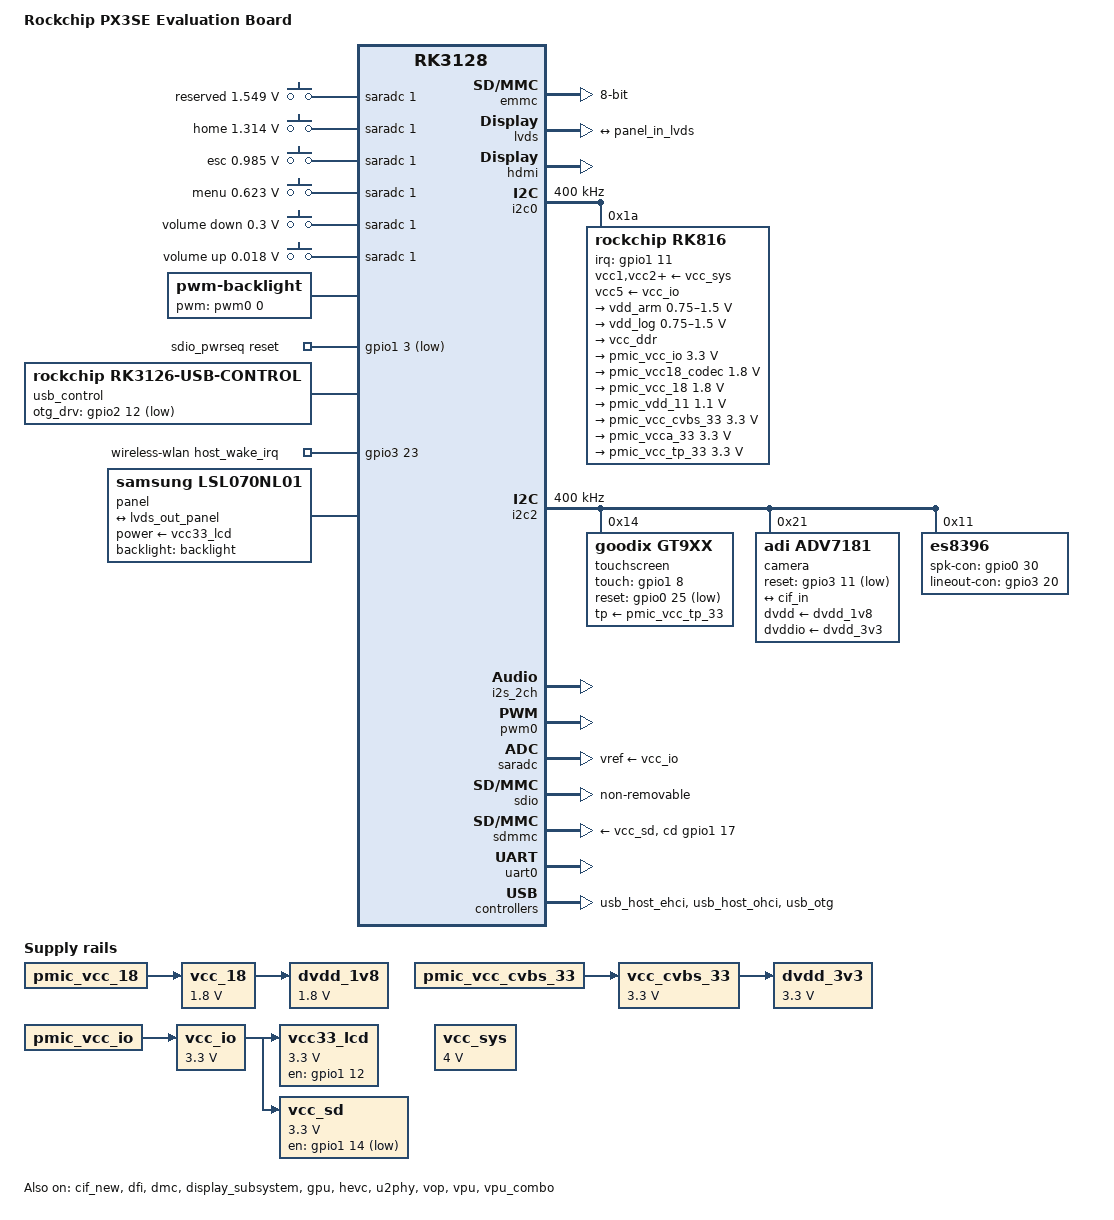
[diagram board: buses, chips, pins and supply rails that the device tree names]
// SPDX-License-Identifier: (GPL-2.0+ OR MIT)
/dts-v1/;

#include "rk3128.dtsi"
#include <dt-bindings/display/drm_mipi_dsi.h>
#include <dt-bindings/input/input.h>

/ {
	model = "Rockchip PX3SE Evaluation Board";
	compatible = "rockchip,px3se-evb", "rockchip,rk3128";

	chosen {
		bootargs = "loglevel=7 root=PARTUUID=614e0000-0000-4b53-8000-1d28000054a9 rootwait";
	};

	adc-keys {
		compatible = "adc-keys";
		io-channels = <&saradc 1>;
		io-channel-names = "buttons";
		poll-interval = <100>;
		keyup-threshold-microvolt = <1800000>;

		reserved-key {
			linux,code = <KEY_RESERVED>;
			label = "reserved";
			press-threshold-microvolt = <1549000>;
		};

		home-key {
			linux,code = <KEY_HOME>;
			label = "home";
			press-threshold-microvolt = <1314000>;
		};

		esc-key {
			linux,code = <KEY_ESC>;
			label = "esc";
			press-threshold-microvolt = <985000>;
		};

		menu-key {
			linux,code = <KEY_MENU>;
			label = "menu";
			press-threshold-microvolt = <623000>;
		};

		vol-down-key {
			linux,code = <KEY_VOLUMEDOWN>;
			label = "volume down";
			press-threshold-microvolt = <300000>;
		};

		vol-up-key {
			linux,code = <KEY_VOLUMEUP>;
			label = "volume up";
			press-threshold-microvolt = <18000>;
		};
	};

	backlight: backlight {
		compatible = "pwm-backlight";

		brightness-levels = <0 1 2 3 4 5 6 7 8 9 10 11 12 13 14 15 16
		17 18 19 20 21 22 23 24 25 26 27 28 29 30 31 32 33 34 35 36 37
		38 39 40 41 42 43 44 45 46 47 48 49 50 51 52 53 54 55 56 57 58
		59 60 61 62 63 64 65 66 67 68 69 70 71 72 73 74 75 76 77 78 79
		80 81 82 83 84 85 86 87 88 89 90 91 92 93 94 95 96 97 98 99 100
		101 102 103 104 105 106 107 108 109 110 111 112 113 114 115 116
		117 118 119 120 121 122 123 124 125 126 127 128 129 130 131 132
		133 134 135 136 137 138 139 140 141 142 143 144 145 146 147 148
		149 150 151 152 153 154 155 156 157 158 159 160 161 162 163 164
		165 166 167 168 169 170 171 172 173 174 175 176 177 178 179 180
		181 182 183 184 185 186 187 188 189 190 191 192 193 194 195 196
		197 198 199 200 201 202 203 204 205 206 207 208 209 210 211 212
		213 214 215 216 217 218 219 220 221 222 223 224 225 226 227 228
		229 230 231 232 233 234 235 236 237 238 239 240 241 242 243 244
		245 246 247 248 249 250 251 252 253 254 255>;

		default-brightness-level = <128>;
		pwms = <&pwm0 0 25000 0>;

		status = "okay";
	};

	fiq-debugger {
		compatible = "rockchip,fiq-debugger";

		pinctrl-names = "default";
		pinctrl-0 = <&uart1_xfer>;

		rockchip,serial-id = <1>;
		rockchip,wake-irq = <0>;
		/* If enable uart uses irq instead of fiq */
		rockchip,irq-mode-enable = <0>;
		rockchip,baudrate = <115200>;  /* Only 115200 and 1500000 */
		/* Choose a reserved/no-in-use irq */
		interrupts = <GIC_SPI 127 IRQ_TYPE_LEVEL_LOW>;
		status = "okay";
	};

	sdio_pwrseq: sdio-pwrseq {
		compatible = "mmc-pwrseq-simple";
		/* Use external clock power by VCC_RTC */
		pinctrl-names = "default";
		pinctrl-0 = <&wifi_pwr>;

		/*
		 * On the module itself this is one of these (depending
		 * on the actual card populated):
		 * - SDIO_RESET_L_WL_REG_ON
		 * - PDN (power down when low)
		 */
		reset-gpios = <&gpio1 3 GPIO_ACTIVE_LOW>;
	};

	sound-rk312x {
		compatible = "simple-audio-card";
		status = "disabled";

		simple-audio-card,format = "i2s";
		simple-audio-card,mclk-fs = <256>;
		simple-audio-card,name = "rockchip,rk312x-codec";
		simple-audio-card,cpu {
			sound-dai = <&i2s_8ch>;
		};
		simple-audio-card,codec {
			sound-dai = <&codec>;
		};
	};

	sound-es8396 {
		compatible = "simple-audio-card";
		status = "okay";

		simple-audio-card,format = "i2s";
		simple-audio-card,name = "rockchip,es8396-codec";
		simple-audio-card,mclk-fs = <256>;
		simple-audio-card,widgets =
			"Microphone", "Microphone Jack",
			"Line", "Microphone Headset",
			"Headphone", "Headphone Jack";
		simple-audio-card,routing =
			"MIC", "Microphone Jack",
			"DMIC", "Microphone Headset",
			"Headphone Jack", "LOUTP",
			"Headphone Jack", "ROUTN";
		simple-audio-card,cpu {
			sound-dai = <&i2s_2ch>;
		};
		simple-audio-card,codec {
			sound-dai = <&es8396>;
		};
	};

	usb_control {
		compatible = "rockchip,rk3126-usb-control";

		otg_drv_gpio = <&gpio2 12 GPIO_ACTIVE_LOW>;
		rockchip,remote_wakeup;
		rockchip,usb_irq_wakeup;
	};

	vcc_18: vcc-18 {
		compatible = "regulator-fixed";
		regulator-name = "vcc_18";
		regulator-min-microvolt = <1800000>;
		regulator-max-microvolt = <1800000>;
		regulator-always-on;
		vin-supply = <&pmic_vcc_18>;
	};

	/* vcc33_lcd and vcc18_lcd share the same enable pin */
	vcc33_lcd: vcc33-lcd {
		compatible = "regulator-fixed";
		pinctrl-names = "default";
		pinctrl-0 = <&lcdc_pwr_en>;

		gpio = <&gpio1 12 GPIO_ACTIVE_HIGH>;
		enable-active-high;

		regulator-name = "vcc33_lcd";
		regulator-min-microvolt = <3300000>;
		regulator-max-microvolt = <3300000>;
		vin-supply = <&vcc_io>;
	};

	vcc_cvbs_33: vcc-cvbs-33 {
		compatible = "regulator-fixed";
		regulator-name= "vcc-cvbs-33";
		regulator-min-microvolt = <3300000>;
		regulator-max-microvolt = <3300000>;
		vin-supply = <&pmic_vcc_cvbs_33>;
	};

	vcc_sys: vcc-sys {
		compatible = "regulator-fixed";
		regulator-name = "vcc_sys";
		regulator-min-microvolt = <4000000>;
		regulator-max-microvolt = <4000000>;
		regulator-always-on;
	};

	vcc_io: vcc-io {
		compatible = "regulator-fixed";
		regulator-name = "vcc_io";
		regulator-min-microvolt = <3300000>;
		regulator-max-microvolt = <3300000>;
		regulator-always-on;
		vin-supply = <&pmic_vcc_io>;
	};

	vcc_sd: vcc-sd {
		compatible = "regulator-fixed";
		gpio = <&gpio1 14 GPIO_ACTIVE_LOW>;
		pinctrl-names = "default";
		pinctrl-0 = <&sdmmc_pwr>;
		regulator-name = "vcc_sd";
		regulator-min-microvolt = <3300000>;
		regulator-max-microvolt = <3300000>;
		vin-supply = <&vcc_io>;
	};

	dvdd_1v8: dvdd-1v8 {
		compatible = "regulator-fixed";
		regulator-name = "dvdd-1v8";
		regulator-min-microvolt = <1800000>;
		regulator-max-microvolt = <1800000>;
		vin-supply = <&vcc_18>;
	};

	dvdd_3v3: dvdd-3v3 {
		compatible = "regulator-fixed";
		regulator-name = "dvdd-3v3";
		regulator-min-microvolt = <3300000>;
		regulator-max-microvolt = <3300000>;
		vin-supply = <&vcc_cvbs_33>;
	};

	wireless-bluetooth {
		compatible = "bluetooth-platdata";

		keep_bt_power_on;

		BT,power_gpio = <&gpio3 21 GPIO_ACTIVE_HIGH>;
		BT,wake_gpio = <&gpio3 26 GPIO_ACTIVE_HIGH>;
		BT,wake_host_irq = <&gpio3 22 GPIO_ACTIVE_HIGH>;
		/* TODO: disabled because it doesn't work */
		status = "disabled";
	};

	wireless-wlan {
		compatible = "wlan-platdata";

		pinctrl-names = "default";
		pinctrl-0 = <&wifi_en>;

		wifi_chip_type = "rtl8723ds";
		sdio_vref = <1800>; /*1800mv or 3300mv*/
		WIFI,host_wake_irq = <&gpio3 23 GPIO_ACTIVE_HIGH>;
		/* WIFI power controller by sdio pwrseq */

		status = "okay";
	};

	panel {
		compatible = "samsung,lsl070nl01", "simple-panel";
		power-supply = <&vcc33_lcd>;
		backlight = <&backlight>;
		/*
		 * MEDIA_BUS_FMT_RGB666_1X7X3_SPWG  - "jeida-18"
		 * MEDIA_BUS_FMT_RGB888_1X7X4_JEIDA - "jeida-24"
		 * MEDIA_BUS_FMT_RGB888_1X7X4_SPWG  - "vesa-24"
		 */
		bus-format = <MEDIA_BUS_FMT_RGB888_1X7X4_SPWG>;

		display-timings {
			native-mode = <&timing0>;

			timing0: timing0 {
				clock-frequency = <48000000>;
				hactive = <1024>;
				vactive = <600>;
				hback-porch = <90>;
				hfront-porch = <90>;
				vback-porch = <10>;
				vfront-porch = <10>;
				hsync-len = <90>;
				vsync-len = <10>;
				hsync-active = <0>;
				vsync-active = <0>;
				de-active = <0>;
				pixelclk-active = <0>;
			};
		};

		port {
			panel_in_lvds: endpoint {
				remote-endpoint = <&lvds_out_panel>;
			};
		};
	};
};

&cif_new {
	status = "okay";

	port {
		cif_in: endpoint {
			remote-endpoint = <&adv7181_out>;
			vsync-active = <0>;
			hsync-active = <1>;
		};
	};
};

&codec {
	#sound-dai-cells = <0>;
	hp-ctl-gpios = <&gpio3 20 GPIO_ACTIVE_HIGH>;
	spk-ctl-gpios = <&gpio0 30 GPIO_ACTIVE_HIGH>;
	spk-mute-delay = <200>;
	hp-mute-delay = <100>;
	spk_volume = <25>;
	hp_volume = <25>;
	capture_volume = <26>;
	gpio_debug = <1>;
	codec_hp_det = <1>;
	status = "disabled";
};

&cpu0 {
	cpu-supply = <&vdd_arm>;
};

&dfi {
	status = "okay";
};

&dmc {
	center-supply = <&vdd_log>;
	status = "okay";
};

&emmc {
	clock-frequency = <50000000>;
	clock-freq-min-max = <400000 50000000>;
	supports-highspeed;
	no-sdio;
	no-sd;
	bootpart-no-access;
	supports-DDR_MODE;
	ignore-pm-notify;
	keep-power-in-suspend;
	//poll-hw-reset

	bus-width = <8>;
	num-slots = <1>;
	pinctrl-names = "default";
	pinctrl-0 = <&emmc_clk &emmc_cmd &emmc_bus8>;
	status = "okay";
};

&display_subsystem {
	status = "okay";
};

&lvds {
	status = "okay";

	ports {
		port@1 {
			reg = <1>;

			lvds_out_panel: endpoint {
				remote-endpoint = <&panel_in_lvds>;
			};
		};
	};
};

&gpu {
	status = "okay";
	mali-supply = <&vdd_log>;
};

&hevc {
	status = "okay";
};

&hevc_mmu {
	status = "okay";
};

&hdmi {
	status = "okay";
};

&i2c0 {
	status = "okay";
	clock-frequency = <400000>;

	rk816: pmic@1a {
		compatible = "rockchip,rk816";
		status = "okay";
		reg = <0x1a>;
		clock-output-names = "xin32k", "rk816-clkout2";
		interrupt-parent = <&gpio1>;
		interrupts = <11 IRQ_TYPE_LEVEL_LOW>;
		pinctrl-names = "default";
		pinctrl-0 = <&pmic_int_l>;
		rockchip,system-power-controller;
		wakeup-source;
		#clock-cells = <1>;
		gpio-controller;
		#gpio-cells = <2>;
		extcon = <&u2phy>;

		vcc1-supply = <&vcc_sys>;
		vcc2-supply = <&vcc_sys>;
		vcc3-supply = <&vcc_sys>;
		vcc4-supply = <&vcc_sys>;
		vcc5-supply = <&vcc_io>;
		vcc6-supply = <&vcc_sys>;

		gpio {
			status = "okay";
		};

		pwrkey {
			status = "okay";
		};

		rtc {
			status = "okay";
		};

		regulators {
			vdd_arm: DCDC_REG1{
				regulator-name= "vdd-arm";
				regulator-min-microvolt = <750000>;
				regulator-max-microvolt = <1500000>;
				regulator-ramp-delay = <6001>;
				regulator-always-on;
				regulator-boot-on;
				regulator-state-mem {
					regulator-on-in-suspend;
					regulator-suspend-microvolt = <900000>;
				};
			};

			vdd_log: DCDC_REG2 {
				regulator-name= "vdd-logic";
				regulator-min-microvolt = <750000>;
				regulator-max-microvolt = <1500000>;
				regulator-ramp-delay = <6001>;
				regulator-always-on;
				regulator-boot-on;
				regulator-state-mem {
					regulator-on-in-suspend;
					regulator-suspend-microvolt = <1000000>;
				};
			};

			vcc_ddr: DCDC_REG3 {
				regulator-name = "vcc-ddr";
				regulator-always-on;
				regulator-boot-on;
			};

			pmic_vcc_io: DCDC_REG4 {
				regulator-name = "pmic-vcc-io";
				regulator-min-microvolt = <3300000>;
				regulator-max-microvolt = <3300000>;
				regulator-always-on;
				regulator-boot-on;
				regulator-state-mem {
					regulator-on-in-suspend;
					regulator-suspend-microvolt = <3000000>;
				};
			};

			pmic_vcc18_codec: LDO_REG1 {
				regulator-name = "pmic-vcc18-codec";
				regulator-min-microvolt = <1800000>;
				regulator-max-microvolt = <1800000>;
				regulator-always-on;
				regulator-boot-on;
				regulator-state-mem {
					regulator-off-in-suspend;
				};
			};

			pmic_vcc_18: LDO_REG2 {
				regulator-name = "pmic-vcc_18";
				regulator-min-microvolt = <1800000>;
				regulator-max-microvolt = <1800000>;
				regulator-always-on;
				regulator-boot-on;
				regulator-state-mem {
					regulator-off-in-suspend;
				};
			};

			pmic_vdd_11: LDO_REG3 {
				regulator-name = "pmic-vdd-11";
				regulator-min-microvolt = <1100000>;
				regulator-max-microvolt = <1100000>;
				regulator-always-on;
				regulator-boot-on;
				regulator-state-mem {
					regulator-on-in-suspend;
					regulator-suspend-microvolt = <1100000>;
				};
			};

			pmic_vcc_cvbs_33: LDO_REG4 {
				regulator-name= "pmic-vcc-cvbs-33";
				regulator-min-microvolt = <3300000>;
				regulator-max-microvolt = <3300000>;
				regulator-state-mem {
					regulator-off-in-suspend;
				};
			};

			pmic_vcca_33: LDO_REG5 {
				regulator-name= "pmic-vcca-33";
				regulator-min-microvolt = <3300000>;
				regulator-max-microvolt = <3300000>;
				regulator-always-on;
				regulator-boot-on;
				regulator-state-mem {
					regulator-off-in-suspend;
				};
			};

			pmic_vcc_tp_33: LDO_REG6 {
				regulator-name= "pmic-vcc-tp-33";
				regulator-min-microvolt = <3300000>;
				regulator-max-microvolt = <3300000>;
				regulator-state-mem {
					regulator-on-in-suspend;
					regulator-suspend-microvolt = <3300000>;
				};
			};
		};
	};
};

&i2c2 {
	status = "okay";
	clock-frequency = <400000>;

	touchscreen: ts@14 {
		compatible = "goodix,gt9xx";
		reg = <0x14>;
		touch-gpio = <&gpio1 8 IRQ_TYPE_LEVEL_LOW>;
		reset-gpio = <&gpio0 25 GPIO_ACTIVE_LOW>;
		//power-gpio = <&gpio0 GPIO_C5 GPIO_ACTIVE_LOW>;
		max-x = <1024>;
		max-y = <600>;
		tp-size = <910>;
		tp-supply = <&pmic_vcc_tp_33>;
		status = "okay";
	};

	camera: adv7181@21 {
		compatible = "adi,adv7181";
		reg = <0x21>;

		pinctrl-names = "default";
		pinctrl-0 = <&cif_rst>;

		dvdd-supply = <&dvdd_1v8>;
		dvddio-supply = <&dvdd_3v3>;
		reset-gpios = <&gpio3 11 GPIO_ACTIVE_LOW>;

		status = "okay";

		port {
			adv7181_out: endpoint {
				remote-endpoint = <&cif_in>;
			};
		};
	};

	es8396: es8396@11 {
		status = "okay";
		#sound-dai-cells = <0>;
		compatible = "es8396";
		reg = <0x11>;
		clock-names = "mclk";
		clocks = <&cru SCLK_I2S_OUT>;
		spk-con-gpio = <&gpio0 30 GPIO_ACTIVE_HIGH>;
		lineout-con-gpio = <&gpio3 20 GPIO_ACTIVE_HIGH>;
	};
};

&i2s_2ch {
	pinctrl-names = "default";
	pinctrl-0 = <&i2s_bus>;
	#sound-dai-cells = <0>;
	status = "okay";
};

&i2s_8ch {
	#sound-dai-cells = <0>;
	status = "disabled";
};

&pwm0 {
	status = "okay";
};

&saradc {
	status = "okay";
	vref-supply = <&vcc_io>;
};

&sdio {
	cap-mmc-highspeed;
	cap-sd-highspeed;
	cap-sdio-irq;
	clock-frequency = <37500000>;
	clock-freq-min-max = <200000 37500000>;
	ignore-pm-notify;
	keep-power-in-suspend;
	mmc-pwrseq = <&sdio_pwrseq>;
	non-removable;
	no-sd;
	no-mmc;

	status = "okay";
};

&sdmmc {
	clock-frequency = <37500000>;
	clock-freq-min-max = <400000 37500000>;
	supports-highspeed;
	no-sdio;
	no-mmc;
	broken-cd;
	card-detect-delay = <200>;
	ignore-pm-notify;
	keep-power-in-suspend;
	vmmc-supply = <&vcc_sd>;
	cd-gpios = <&gpio1 17 GPIO_ACTIVE_HIGH>;
	status = "okay";
};

&u2phy {
	status = "okay";

	u2phy_otg: otg-port {
		status = "okay";
	};

	u2phy_host: host-port {
		status = "okay";
	};
};

&uart0 {
	status = "okay";
};

&uart1 {
	/* disable uart1 explicitly since fiq-debugger is on uart1 */
	status = "disabled";
};

&usb_host_ehci {
	status = "okay";
};

&usb_host_ohci {
	status = "okay";
};

&usb_otg {
	status = "okay";
};

&vop {
	status = "okay";
};

&vop_mmu {
	status = "okay";
};

&vpu {
	status = "okay";
};

&vpu_combo {
	status = "okay";
};

&vpu_mmu {
	status = "okay";
};

&pinctrl {
	camera {
		cif_rst: cif-rst {
			rockchip,pins = <3 RK_PB3 RK_FUNC_GPIO &pcfg_pull_default>;
		};
	};

	pmic {
		pmic_int_l: pmic-int-l {
			rockchip,pins = <1 RK_PB3 RK_FUNC_GPIO &pcfg_pull_default>;
		};
	};

	sdmmc {
		sdmmc_pwr: sdmmc-pwr {
			rockchip,pins = <1 RK_PB6 RK_FUNC_GPIO &pcfg_pull_default>;
		};
	};

	lcdc {
		lcdc_pwr_en: lcdc-pwr-en {
			rockchip,pins = <1 RK_PB4 RK_FUNC_GPIO &pcfg_pull_default>;
		};
	};

	wifi {
		wifi_en: wifi-en {
			rockchip,pins = <3 RK_PD3 RK_FUNC_GPIO &pcfg_output_high>;
		};
		wifi_pwr: wifi-pwr {
			rockchip,pins = <1 RK_PA3 RK_FUNC_GPIO &pcfg_pull_default>;
		};
	};
};
